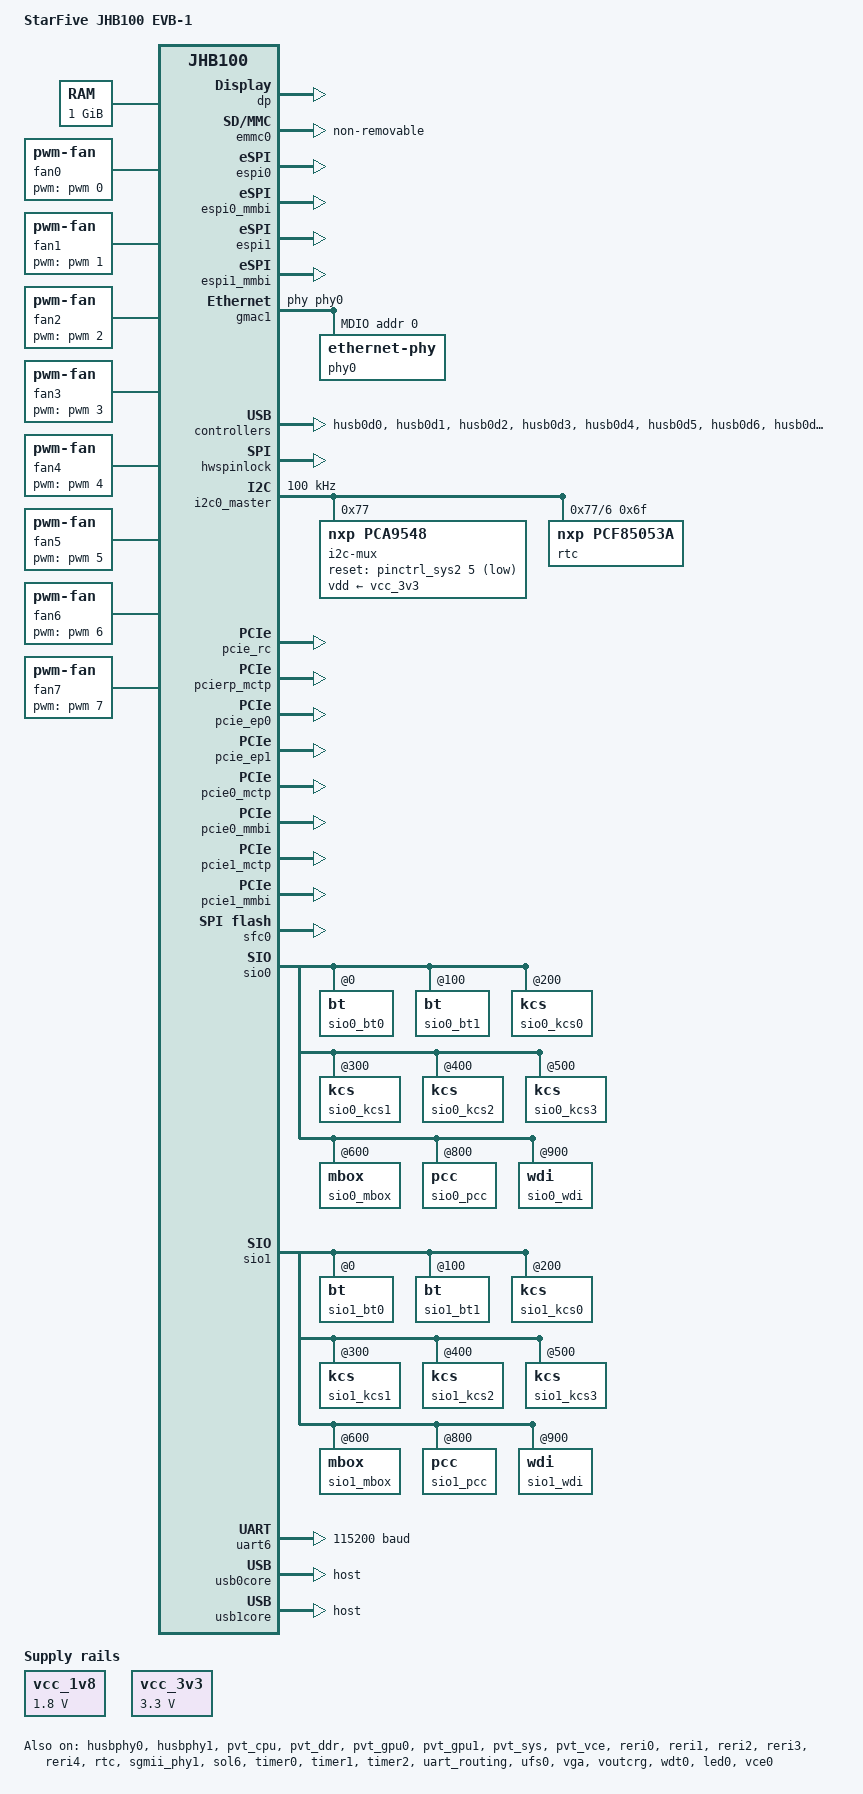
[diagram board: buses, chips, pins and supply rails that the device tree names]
// SPDX-License-Identifier: GPL-2.0 OR MIT
/*
 * Copyright (c) 2025 StarFive Technology Co., Ltd.
 */

#include "jhb100.dtsi"
#include "jhb100-pinctrl.dtsi"
#include <dt-bindings/gpio/gpio.h>
#include <dt-bindings/i2c/i2c.h>

/ {
	model = "StarFive JHB100 EVB-1";
	compatible = "starfive,jhb100-evb1", "starfive,jhb100";

	aliases {
		serial4 = &uart4;
		serial5 = &uart5;
		serial6 = &uart6;
		serial7 = &uart7;
		serial8 = &uart8;
		serial9 = &uart9;
		serial10 = &uart10;
		serial11 = &uart11;
		serial12 = &uart12;
		serial13 = &uart13;
		serial14 = &uart14;

		ethernet0 = &gmac0;
		ethernet1 = &gmac1;
		ethernet2 = &gmac2;
		ethernet3 = &gmac3;

		i2c0 = &i2c0_master;
		i2c1 = &i2c0_slave;

		i2c2 = &i2c1_master;
		i2c3 = &i2c1_slave;

		i2c4 = &i2c2_master;
		i2c5 = &i2c2_slave;

		i2c6 = &i2c3_master;
		i2c7 = &i2c3_slave;

		i2c8 = &i2c4_master;
		i2c9 = &i2c4_slave;

		i2c10 = &i2c5_master;
		i2c11 = &i2c5_slave;

		i2c12 = &i2c6_master;
		i2c13 = &i2c6_slave;

		i2c14 = &i2c7_master;
		i2c15 = &i2c7_slave;

		i2c16 = &i2c8_master;
		i2c17 = &i2c8_slave;

		i2c18 = &i2c9_master;
		i2c19 = &i2c9_slave;

		i2c20 = &i2c10_master;
		i2c21 = &i2c10_slave;

		i2c22 = &i2c11_master;
		i2c23 = &i2c11_slave;

		i2c24 = &i2c12_master;
		i2c25 = &i2c12_slave;

		i2c26 = &i2c13_master;
		i2c27 = &i2c13_slave;

		i2c28 = &i2c14_master;
		i2c29 = &i2c14_slave;

		i2c30 = &i2c15_master;
		i2c31 = &i2c15_slave;

		i2c32 = &i3c0;
		i2c33 = &i3c1;
		i2c34 = &i3c2;
		i2c35 = &i3c3;
		i2c36 = &i3c4;
		i2c37 = &i3c5;
		i2c38 = &i3c6;
		i2c39 = &i3c7;
		i2c40 = &i3c8;
		i2c41 = &i3c9;
		i2c42 = &i3c10;
		i2c43 = &i3c11;
		i2c44 = &i3c12;
		i2c45 = &i3c13;
		i2c46 = &i3c14;
		i2c47 = &i3c15;

		i2c48 = &imux0;
		i2c49 = &imux1;
		i2c50 = &imux2;
		i2c51 = &imux3;
		i2c52 = &imux4;
		i2c53 = &imux5;
		i2c54 = &imux6;
		i2c55 = &imux7;

		i3c0 = &i3c0;
		i3c1 = &i3c1;
		i3c2 = &i3c2;
		i3c3 = &i3c3;
		i3c4 = &i3c4;
		i3c5 = &i3c5;
		i3c6 = &i3c6;
		i3c7 = &i3c7;
		i3c8 = &i3c8;
		i3c9 = &i3c9;
		i3c10 = &i3c10;
		i3c11 = &i3c11;
		i3c12 = &i3c12;
		i3c13 = &i3c13;
		i3c14 = &i3c14;
		i3c15 = &i3c15;

		peci0 = &peci0;
		peci4 = &peci1;

		spi0 = &sfc0;
		spi1 = &sfc1;
		spi2 = &sfc2;
		spi3 = &spi0;
	};

	chosen {
		stdout-path = "serial6:115200n8";
	};

	cpus {
		timebase-frequency = <5000000>;
	};

	memory {
		device_type = "memory";
		reg = <0x0 0x40000000 0x0 0x40000000>;	/* 1GB */
	};

	reserved-memory {
		#address-cells = <0x2>;
		#size-cells = <0x2>;
		ranges;

		#include "jhb100-reserved-mem.dtsi"

		linux,cma {
			compatible = "shared-dma-pool";
			reusable;
			size = <0x0 0x08000000>;
			alignment = <0x0 0x1000>;
			alloc-ranges = <0x0 0x40000000 0x2 0x0>;
			linux,cma-default;
		};
	};

	fan0: pwm-fan0 {
		compatible = "pwm-fan";
		pwms = <&pwm 0 40000 0>;
	};

	fan1: pwm-fan1 {
		compatible = "pwm-fan";
		pwms = <&pwm 1 40000 0>;
	};

	fan2: pwm-fan2 {
		compatible = "pwm-fan";
		pwms = <&pwm 2 40000 0>;
	};

	fan3: pwm-fan3 {
		compatible = "pwm-fan";
		pwms = <&pwm 3 40000 0>;
	};

	fan4: pwm-fan4 {
		compatible = "pwm-fan";
		pwms = <&pwm 4 40000 0>;
	};

	fan5: pwm-fan5 {
		compatible = "pwm-fan";
		pwms = <&pwm 5 40000 0>;
	};

	fan6: pwm-fan6 {
		compatible = "pwm-fan";
		pwms = <&pwm 6 40000 0>;
	};

	fan7: pwm-fan7 {
		compatible = "pwm-fan";
		pwms = <&pwm 7 40000 0>;
	};

	vcc_1v8: regulator-vcc-1v8 {
		compatible = "regulator-fixed";
		regulator-name = "vcc-1v8";
		regulator-min-microvolt = <1800000>;
		regulator-max-microvolt = <1800000>;
	};

	vcc_3v3: regulator-vcc-3v3 {
		compatible = "regulator-fixed";
		regulator-name = "vcc-3v3";
		regulator-min-microvolt = <3300000>;
		regulator-max-microvolt = <3300000>;
	};
};

&dc0_clk {
	single-node = <0>;
	status = "okay";
};

&dc1_clk {
	single-node = <0>;
	status = "okay";
};

&dma_i2c {
	status = "disabled";
};

&dma_sfc0 {
	status = "okay";
};

&dma_system {
	status = "okay";
};

&dma_uart {
	status = "okay";
};

&dp {
	status = "okay";
};

&emmc0 {
	mmc-hs400-1_8v;
	max-frequency = <200000000>;
	non-removable;
	status = "okay";
};

&espi0 {
	starfive,flash-mtd-device = "bios-image0";
	starfive,host-src-addr = /bits/ 64 <0xf6810000>;
	perif-memcyc-size = <0x400000>;
	memory-region = <&espi0_mmbi_buffer_uncache>,
			<&espi0_perif_mem_uncache>,
			<&espi0_vw_mem_uncache>;

	starfive,bt-remap-num = <2>;
	starfive,kcs-remap-num = <4>;
	starfive,uart-remap-num = <2>;
	starfive,bt-io-addr = /bits/ 32 <0xe4 0xf4>;
	starfive,kcs-io-addr = /bits/ 32 <0xca2 0xcb2 0xcc2 0xcd2>;
	starfive,uart-io-addr = /bits/ 32 <0x3f8 0x410>;
	starfive,wdi-io-addr = /bits/ 32 <0xa00>;
	starfive,mbox-io-addr = /bits/ 32 <0x300>;

	starfive,vgpio_dir_bits = /bits/ 64 <0xffffffff00000000 0x0000000000000000>;
	starfive,vgpio_lvl_bits = /bits/ 64 <0x0000000000000000 0x0000000000000000>;
	starfive,vgpio_phy_bits = /bits/ 64 <0x0000000f0000000f 0x0000000000000000>;

	status = "okay";
};

&espi0_mmbi {
	mmbi-id = /bits/ 8 <0>;
	mmbi-instance-num = /bits/ 32 <1>;
	mmbi-instance-size = /bits/ 32 <0x10000>;
	mmbi-src-addr-offset = /bits/ 32 <0x10000>;
	mmbi-osuse = /bits/ 8 <0 0 0 0 0 0 0 0>;
	memory-region = <&espi0_mmbi_buffer_uncache>;
	status = "okay";
};

&espi1 {
	starfive,flash-mtd-device = "bios-image1";
	starfive,host-src-addr = /bits/ 64 <0xf6810000>;
	perif-memcyc-size = <0x400000>;
	memory-region = <&espi1_mmbi_buffer_uncache>,
			<&espi1_perif_mem_uncache>,
			<&espi1_vw_mem_uncache>;

	starfive,bt-remap-num = <2>;
	starfive,kcs-remap-num = <4>;
	starfive,uart-remap-num = <2>;
	starfive,bt-io-addr = /bits/ 32 <0xe4 0xf4>;
	starfive,kcs-io-addr = /bits/ 32 <0xca2 0xcb2 0xcc2 0xcd2>;
	starfive,uart-io-addr = /bits/ 32 <0x3f8 0x410>;
	starfive,wdi-io-addr = /bits/ 32 <0xa00>;
	starfive,mbox-io-addr = /bits/ 32 <0x300>;

	starfive,vgpio_dir_bits = /bits/ 64 <0xffffffff00000000 0x0000000000000000>;
	starfive,vgpio_lvl_bits = /bits/ 64 <0x0000000000000000 0x0000000000000000>;
	starfive,vgpio_phy_bits = /bits/ 64 <0x0000000f0000000f 0x0000000000000000>;

	status = "okay";
};

&espi1_mmbi {
	mmbi-id = /bits/ 8 <1>;
	mmbi-instance-num = /bits/ 32 <1>;
	mmbi-instance-size = /bits/ 32 <0x10000>;
	mmbi-src-addr-offset = /bits/ 32 <0x10000>;
	mmbi-osuse = /bits/ 8 <0 0 0 0 0 0 0 0>;
	memory-region = <&espi1_mmbi_buffer_uncache>;
	status = "okay";
};

&gmac1 {
	phy-handle = <&phy0>;
	pinctrl-names = "default";
	pinctrl-0 = <&gmac1_mdio_pins>;
	snps,ps-speed = <1000>;

	/* PHY reset pin */
	/* reset-gpios = <&pinctrl_sys2 4 GPIO_ACTIVE_LOW>; */
	/* reset-assert-us = <15000>; */
	/* reset-deassert-us = <15000>; */
	status = "okay";

	mdio {
		#address-cells = <1>;
		#size-cells = <0>;
		compatible = "snps,dwmac-mdio";

		phy0: ethernet-phy@0 {
			reg = <0>;
			motorcomm,clk-out-frequency-hz = <25000000>;
		};
	};
};

&husb0d0 {
	status = "okay";
};

&husb0d1 {
	status = "okay";
};

&husb0d2 {
	status = "okay";
};

&husb0d3 {
	status = "okay";
};

&husb0d4 {
	status = "okay";
};

&husb0d5 {
	status = "okay";
};

&husb0d6 {
	status = "okay";
};

&husb0d7 {
	status = "okay";
};

&husb0 {
	interrupts-extended = <&plic 251>, <&plic 271>, <&intc 53>, <&intc 54>;
	interrupt-names = "err", "pme", "perst_pe", "perst_ne";
	status = "okay";
};

&husb0core {
	snps,export-xhci-to-pcie;
};

&husbd0crg {
	status = "okay";
};

&husb0crg {
	status = "okay";
};

&husb1d0 {
	status = "okay";
};

&husb1d1 {
	status = "okay";
};

&husb1d2 {
	status = "okay";
};

&husb1d3 {
	status = "okay";
};

&husb1d4 {
	status = "okay";
};

&husb1d5 {
	status = "okay";
};

&husb1d6 {
	status = "okay";
};

&husb1d7 {
	status = "okay";
};

&husb1 {
	interrupts-extended = <&plic 261>, <&plic 315>, <&intc 55>, <&intc 56>;
	interrupt-names = "err", "pme", "perst_pe", "perst_ne";
	status = "okay";
 };

&husb1core {
	snps,export-xhci-to-pcie;
};

&husbd1crg {
	status = "okay";
};

&husb1crg {
	status = "okay";
};

&husbphy0 {
	status = "okay";
};

&husbphy1 {
	status = "okay";
};

&hwspinlock {
	status = "okay";
};

&i2c0_master {
	clock-frequency = <100000>;
	status = "okay";

	i2c-mux@77 {
		compatible = "nxp,pca9548";
		#address-cells = <1>;
		#size-cells = <0>;
		reg = <0x77>;
		reset-gpios = <&pinctrl_sys2 5 GPIO_ACTIVE_LOW>;
		i2c-mux-idle-disconnect;
		vdd-supply = <&vcc_3v3>;

		imux0: i2c@0 {
			#address-cells = <1>;
			#size-cells = <0>;
			reg = <0>;
		};
		imux1: i2c@1 {
			#address-cells = <1>;
			#size-cells = <0>;
			reg = <1>;
		};
		imux2: i2c@2 {
			#address-cells = <1>;
			#size-cells = <0>;
			reg = <2>;
		};
		imux3: i2c@3 {
			#address-cells = <1>;
			#size-cells = <0>;
			reg = <3>;
		};
		imux4: i2c@4 {
			#address-cells = <1>;
			#size-cells = <0>;
			reg = <4>;
		};
		imux5: i2c@5 {
			#address-cells = <1>;
			#size-cells = <0>;
			reg = <5>;
		};
		imux6: i2c@6 {
			#address-cells = <1>;
			#size-cells = <0>;
			reg = <6>;
		};
		imux7: i2c@7 {
			#address-cells = <1>;
			#size-cells = <0>;
			reg = <7>;
		};
	};
};

&imux6 {
	rtc@6f {
		compatible = "nxp,pcf85053a";
		reg = <0x6f>;
	};
};

&pcie_rc {
	pinctrl-names = "default";
	pinctrl-0 = <&pe2rst_pins>;
	status = "okay";
};

&pcierp_mctp {
	status = "okay";
};

&pcie_ep0 {
	memory-region = <&pcie0_media_mem_uncache>,
			<&pcie0_user_mem_uncache>,
			<&pcie0_mmbi_buffer_uncache>,
			<&pcie0_hdma_mem_uncache>;
	starfive,support-usb-vout-func;
	status = "okay";
};

&pcie_ep1 {
	memory-region = <&pcie1_media_mem_uncache>,
			<&pcie1_user_mem_uncache>,
			<&pcie1_mmbi_buffer_uncache>,
			<&pcie1_hdma_mem_uncache>;
	starfive,support-usb-vout-func;
	status = "okay";
};

&pcie0_mctp {
	status = "okay";
};

&pcie0_mmbi {
	mmbi-id = /bits/ 8 <0>;
	mmbi-instance-num = /bits/ 32 <8>;
	mmbi-instance-size = /bits/ 32 <0x10000>;
	mmbi-src-addr-offset = /bits/ 32 <0>;
	mmbi-osuse = /bits/ 8 <1 1 1 1 1 1 1 1>;
	memory-region = <&pcie0_mmbi_buffer_uncache>;
	starfive,raise-irq-syscon = <&pcie_ep0_ecsr 0x700 0xd>;
	starfive,rst-en-syscon = <&strap_reg 0x50 0x400>;
	status = "okay";
};

&pcie1_mctp {
	status = "okay";
};

&pcie1_mmbi {
	mmbi-id = /bits/ 8 <1>;
	mmbi-instance-num = /bits/ 32 <8>;
	mmbi-instance-size = /bits/ 32 <0x10000>;
	mmbi-src-addr-offset = /bits/ 32 <0>;
	mmbi-osuse = /bits/ 8 <1 1 1 1 1 1 1 1>;
	memory-region = <&pcie1_mmbi_buffer_uncache>;
	starfive,raise-irq-syscon = <&pcie_ep1_ecsr 0x700 0xd>;
	starfive,rst-en-syscon = <&strap_reg 0x50 0x800>;
	status = "okay";
};

&pvt_cpu {
	status = "okay";
};

&pvt_ddr {
	status = "okay";
};

&pvt_gpu0 {
	status = "okay";
};

&pvt_gpu1 {
	status = "okay";
};

&pvt_sys {
	status = "okay";
};

&pvt_usb {
	status = "okay";
};

&pvt_vce {
	status = "okay";
};

&reri0 {
	status = "okay";
};

&reri1 {
	status = "okay";
};

&reri2 {
	status = "okay";
};

&reri3 {
	status = "okay";
};

&reri4 {
	status = "okay";
};

&rtc {
	status = "okay";
};

&sfc0 {
	status = "okay";
	rx-sample-delay-ns = <10>;
};

&sgmii_phy1 {
	status = "okay";
};

&sio0 {
	status = "okay";

	sio0_bt0: bt@0 {
		bt_chan = <0>;
		status = "okay";
	};

	sio0_bt1: bt@100 {
		bt_chan = <1>;
		status = "okay";
	};

	sio0_kcs0: kcs@200 {
		kcs_chan = <0>;
		status = "okay";
	};

	sio0_kcs1: kcs@300 {
		kcs_chan = <1>;
		status = "okay";
	};

	sio0_kcs2: kcs@400 {
		kcs_chan = <2>;
		status = "okay";
	};

	sio0_kcs3: kcs@500 {
		kcs_chan = <3>;
		status = "okay";
	};

	sio0_mbox: mbox@600 {
		status = "okay";
	};

	sio0_pcc: pcc@800 {
		starfive,pcc-threshold = <0>;
		status = "okay";
	};

	sio0_wdi: wdi@900 {
		status = "okay";
	};
};

&sio1 {
	status = "okay";

	sio1_bt0: bt@0 {
		bt_chan = <2>;
		status = "okay";
	};

	sio1_bt1: bt@100 {
		bt_chan = <3>;
		status = "okay";
	};

	sio1_kcs0: kcs@200 {
		kcs_chan = <4>;
		status = "okay";
	};

	sio1_kcs1: kcs@300 {
		kcs_chan = <5>;
		status = "okay";
	};

	sio1_kcs2: kcs@400 {
		kcs_chan = <6>;
		status = "okay";
	};

	sio1_kcs3: kcs@500 {
		kcs_chan = <7>;
		status = "okay";
	};

	sio1_mbox: mbox@600 {
		status = "okay";
	};

	sio1_pcc: pcc@800 {
		starfive,pcc-threshold = <0>;
		status = "okay";
	};

	sio1_wdi: wdi@900 {
		status = "okay";
	};
};

&sol5 {
	memory-region = <&sol_tx_mem_uncache>,
			<&sol_rx_mem_uncache>;
	tx-size = <3>;
	rx-size = <3>;
	dev-id = <5>;
	status = "disabled";
};

&sol6 {
	memory-region = <&sol_tx_mem_uncache>,
			<&sol_rx_mem_uncache>;
	tx-size = <3>;
	rx-size = <3>;
	dev-id = <6>;
	status = "okay";
};

&sol7 {
	memory-region = <&sol_tx_mem_uncache>,
			<&sol_rx_mem_uncache>;
	tx-size = <3>;
	rx-size = <3>;
	dev-id = <7>;
	status = "disabled";
};

&sol8 {
	memory-region = <&sol_tx_mem_uncache>,
			<&sol_rx_mem_uncache>;
	tx-size = <3>;
	rx-size = <3>;
	dev-id = <8>;
	status = "disabled";
};

&sol13 {
	memory-region = <&sol_tx_mem_uncache>,
			<&sol_rx_mem_uncache>;
	tx-size = <3>;
	rx-size = <3>;
	dev-id = <13>;
	status = "disabled";
};

&sol14 {
	memory-region = <&sol_tx_mem_uncache>,
			<&sol_rx_mem_uncache>;
	tx-size = <3>;
	rx-size = <3>;
	dev-id = <14>;
	status = "disabled";
};

&timer0 {
	status = "okay";
};

&timer1 {
	status = "okay";
};

&timer2 {
	status = "okay";
};

&uart5 {
	status = "disabled";
	current-speed = <115200>;
	pinctrl-names = "default";
	pinctrl-0 = <&uart5_pins>;
};

&uart6 {
	status = "okay";
	current-speed = <115200>;
	pinctrl-names = "default";
	pinctrl-0 = <&uart6_pins>;
};

&uart7 {
	status = "disabled";
	current-speed = <115200>;
	pinctrl-names = "default";
	pinctrl-0 = <&uart7_pins>;
};

&uart8 {
	status = "disabled";
	current-speed = <115200>;
	pinctrl-names = "default";
	pinctrl-0 = <&uart8_pins>;
};

&uart13 {
	status = "disabled";
	current-speed = <115200>;
	pinctrl-names = "default";
	pinctrl-0 = <&uart13_pins>;
};

&uart14 {
	status = "disabled";
	current-speed = <115200>;
	pinctrl-names = "default";
	pinctrl-0 = <&uart14_pins>;
};

&uart_routing {
	starfive,chsel = /bits/ 8 <0 0 0 0 0 0 0 0 0 0 0 0 0 0 0>;
	pinctrl-names = "default";
	pinctrl-0 = <&uart0_rs232_pins>;
	status = "okay";
};

&ufs0 {
	status = "okay";
};

&usb0 {
	status = "okay";
};

&usb0core {
	dr_mode = "host";
};

&usb1 {
	status = "okay";
};

&usb1core {
	dr_mode = "host";
};

&vga {
	status = "okay";
};

&voutcrg {
	status = "okay";
};

&wdt0 {
	status = "okay";
};

&wdt1 {
	status = "disabled";
};

&wdt2 {
	status = "disabled";
};

&wdt3 {
	status = "disabled";
};

&wdt_ext {
	status = "disabled";
	pinctrl-names = "default";
	pinctrl-0 = <&wdt4_ext_reset_pins &wdt4_restart_pins>;
};

&led0 {
	status = "okay";
};

&vce0 {
	memory-region = <&pcie0_media_mem_uncache>;
	status = "okay";
};
